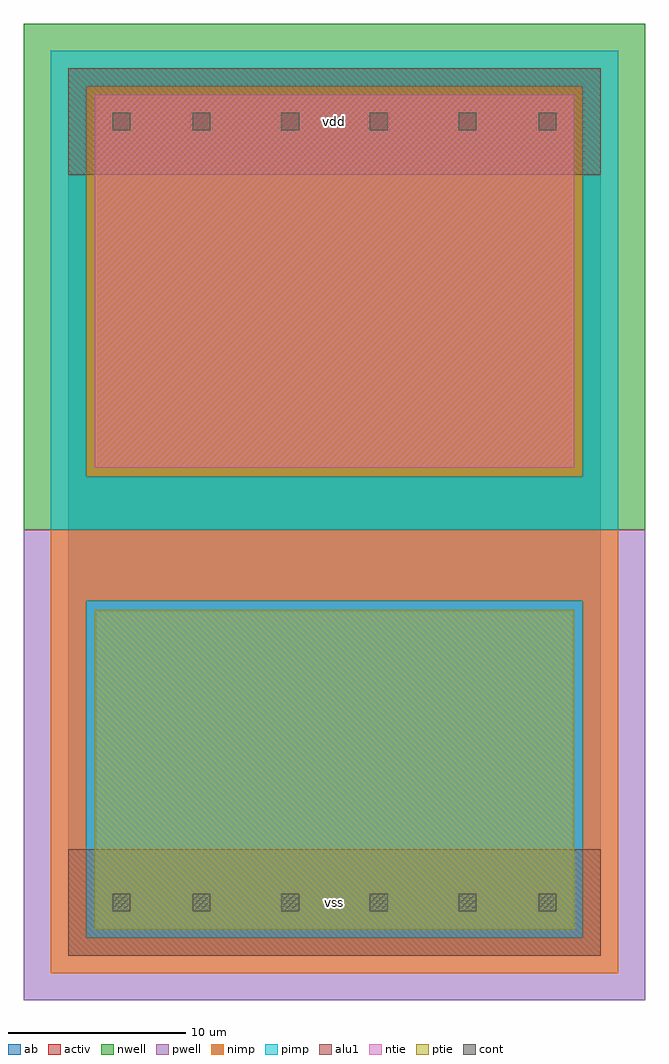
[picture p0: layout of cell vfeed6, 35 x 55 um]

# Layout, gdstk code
import gdstk
lib = gdstk.Library(unit=1e-6, precision=1e-09)
def R(c, l, rs):  # rectangles x0, y0, x1, y1
    for r in rs: c.add(gdstk.rectangle(r[:2], r[2:], *l))
def A(c, l, x, y, w, h, nx, ny, dx, dy):  # array of equal rectangles
    R(c, l, [(x+i*dx, y+j*dy, x+i*dx+w, y+j*dy+h) for i in range(nx) for j in range(ny)])
ntie = (5, 0)
ptie = (6, 0)
cont = (25, 0)
pwell = (41, 0)
nwell = (42, 0)
activ = (43, 0)
pimp = (44, 0)
nimp = (45, 0)
alu1 = (49, 0)
ab = (63, 0)

vfeed6 = lib.new_cell('vfeed6')
R(vfeed6, ntie, [(1.5,27.5,28.5,48.5)])
R(vfeed6, ptie, [(1.5,1.5,28.5,19.5)])
A(vfeed6, cont, 7, 2.5, 1, 1, 4, 2, 5, 44)
R(vfeed6, cont, [(2.5,2.5,3.5,3.5), (26.5,2.5,27.5,3.5), (2.5,46.5,3.5,47.5), (26.5,46.5,27.5,47.5)])
R(vfeed6, pwell, [(-2.5,-2.5,32.5,24)])
R(vfeed6, nwell, [(-2.5,24,32.5,52.5)])
R(vfeed6, activ, [(1.5,1.5,28.5,19.5), (1.5,27.5,28.5,48.5)])
R(vfeed6, pimp, [(1,1,29,20), (-1,24,31,27), (-1,27,1,49), (29,27,31,49), (-1,49,31,51)])
R(vfeed6, nimp, [(-1,-1,31,1), (-1,1,1,20), (29,1,31,20), (-1,20,31,24), (1,27,29,49)])
R(vfeed6, alu1, [(0,0,30,6), (0,0,30,6), (0,44,30,50), (0,44,30,50)])
R(vfeed6, ab, [(0,0,30,50)])
vfeed6.add(gdstk.Label('vss', (15,3), layer=49, texttype=0))
vfeed6.add(gdstk.Label('vdd', (15,47), layer=49, texttype=0))

lib.write_gds('vfeed6.gds')
